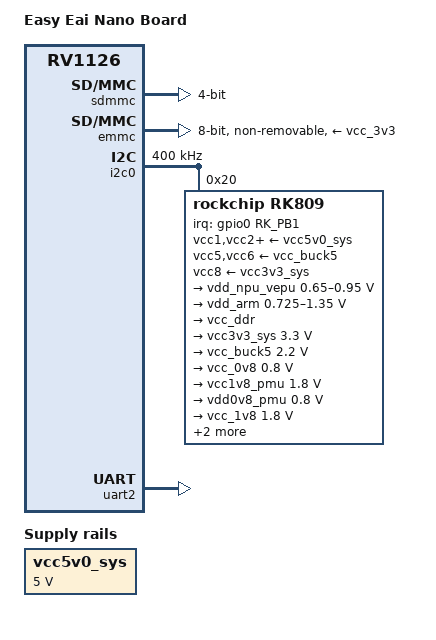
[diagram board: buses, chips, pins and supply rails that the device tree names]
// SPDX-License-Identifier: (GPL-2.0+ OR MIT)
/*
 * Copyright (c) 2020 Rockchip Electronics Co., Ltd.
 */

/dts-v1/;
#include "rv1126.dtsi"

/ {
	model = "Easy Eai Nano Board";
	compatible = "easyeai,nano", "rockchip,rv1126";

	aliases {
		serial2 = &uart2;
	};

	chosen {
		stdout-path = "serial2:1500000n8";
	};

	vcc5v0_sys: vcc5v0-sys-regulator {
		compatible = "regulator-fixed";
		regulator-name = "vcc5v0_sys";
		regulator-always-on;
		regulator-boot-on;
		regulator-min-microvolt = <5000000>;
		regulator-max-microvolt = <5000000>;
	};
};

&sdmmc {
	bus-width = <4>;
	cap-mmc-highspeed;
	cap-sd-highspeed;
	card-detect-delay = <200>;
	pinctrl-names = "default";
	pinctrl-0 = <&sdmmc0_clk &sdmmc0_cmd &sdmmc0_bus4 &sdmmc0_det>;
	rockchip,default-sample-phase = <90>;
	sd-uhs-sdr12;
	sd-uhs-sdr25;
	sd-uhs-sdr104;
	vqmmc-supply = <&vccio_sd>;
	status = "okay";
};

&emmc {
	bus-width = <8>;
	non-removable;
	pinctrl-names = "default";
	pinctrl-0 = <&emmc_bus8 &emmc_cmd &emmc_clk &emmc_rstnout>;
	rockchip,default-sample-phase = <90>;
	vmmc-supply = <&vcc_3v3>;
	status = "okay";
};

&i2c0 {
	clock-frequency = <400000>;
	status = "okay";

	rk809: pmic@20 {
		compatible = "rockchip,rk809";
		reg = <0x20>;
		interrupt-parent = <&gpio0>;
		interrupts = <RK_PB1 IRQ_TYPE_LEVEL_LOW>;
		#clock-cells = <1>;
		clock-output-names = "rk808-clkout1", "rk808-clkout2";
		rockchip,system-power-controller;
		wakeup-source;

		vcc1-supply = <&vcc5v0_sys>;
		vcc2-supply = <&vcc5v0_sys>;
		vcc3-supply = <&vcc5v0_sys>;
		vcc4-supply = <&vcc5v0_sys>;
		vcc5-supply = <&vcc_buck5>;
		vcc6-supply = <&vcc_buck5>;
		vcc7-supply = <&vcc5v0_sys>;
		vcc8-supply = <&vcc3v3_sys>;
		vcc9-supply = <&vcc5v0_sys>;

		regulators {
			vdd_npu_vepu: DCDC_REG1 {
				regulator-name = "vdd_npu_vepu";
				regulator-always-on;
				regulator-boot-on;
				regulator-initial-mode = <0x2>;
				regulator-min-microvolt = <650000>;
				regulator-max-microvolt = <950000>;
				regulator-ramp-delay = <6001>;
				regulator-state-mem {
					regulator-off-in-suspend;
				};
			};

			vdd_arm: DCDC_REG2 {
				regulator-name = "vdd_arm";
				regulator-always-on;
				regulator-boot-on;
				regulator-initial-mode = <0x2>;
				regulator-min-microvolt = <725000>;
				regulator-max-microvolt = <1350000>;
				regulator-ramp-delay = <6001>;
				regulator-state-mem {
					regulator-off-in-suspend;
				};
			};

			vcc_ddr: DCDC_REG3 {
				regulator-name = "vcc_ddr";
				regulator-always-on;
				regulator-boot-on;
				regulator-initial-mode = <0x2>;
				regulator-state-mem {
					regulator-on-in-suspend;
				};
			};

			vcc3v3_sys: DCDC_REG4 {
				regulator-name = "vcc3v3_sys";
				regulator-always-on;
				regulator-boot-on;
				regulator-initial-mode = <0x2>;
				regulator-min-microvolt = <3300000>;
				regulator-max-microvolt = <3300000>;
				regulator-state-mem {
					regulator-on-in-suspend;
					regulator-suspend-microvolt = <3300000>;
				};
			};

			vcc_buck5: DCDC_REG5 {
				regulator-name = "vcc_buck5";
				regulator-always-on;
				regulator-boot-on;
				regulator-min-microvolt = <2200000>;
				regulator-max-microvolt = <2200000>;
				regulator-state-mem {
					regulator-on-in-suspend;
					regulator-suspend-microvolt = <2200000>;
				};
			};

			vcc_0v8: LDO_REG1 {
				regulator-name = "vcc_0v8";
				regulator-always-on;
				regulator-boot-on;
				regulator-min-microvolt = <800000>;
				regulator-max-microvolt = <800000>;
				regulator-state-mem {
					regulator-off-in-suspend;
				};
			};

			vcc1v8_pmu: LDO_REG2 {
				regulator-name = "vcc1v8_pmu";
				regulator-always-on;
				regulator-boot-on;
				regulator-min-microvolt = <1800000>;
				regulator-max-microvolt = <1800000>;
				regulator-state-mem {
					regulator-on-in-suspend;
					regulator-suspend-microvolt = <1800000>;
				};
			};

			vdd0v8_pmu: LDO_REG3 {
				regulator-name = "vcc0v8_pmu";
				regulator-always-on;
				regulator-boot-on;
				regulator-min-microvolt = <800000>;
				regulator-max-microvolt = <800000>;
				regulator-state-mem {
					regulator-on-in-suspend;
					regulator-suspend-microvolt = <800000>;
				};
			};

			vcc_1v8: LDO_REG4 {
				regulator-name = "vcc_1v8";
				regulator-always-on;
				regulator-boot-on;
				regulator-min-microvolt = <1800000>;
				regulator-max-microvolt = <1800000>;
				regulator-state-mem {
					regulator-on-in-suspend;
					regulator-suspend-microvolt = <1800000>;
				};
			};

			vcc_dovdd: LDO_REG5 {
				regulator-name = "vcc_dovdd";
				regulator-boot-on;
				regulator-min-microvolt = <1800000>;
				regulator-max-microvolt = <1800000>;
				regulator-state-mem {
					regulator-off-in-suspend;
				};
			};

			vcc_dvdd: LDO_REG6 {
				regulator-name = "vcc_dvdd";
				regulator-min-microvolt = <1200000>;
				regulator-max-microvolt = <1200000>;
				regulator-state-mem {
					regulator-off-in-suspend;
				};
			};

			vcc_avdd: LDO_REG7 {
				regulator-name = "vcc_avdd";
				regulator-min-microvolt = <2800000>;
				regulator-max-microvolt = <2800000>;
				regulator-state-mem {
					regulator-off-in-suspend;
				};
			};

			vccio_sd: LDO_REG8 {
				regulator-name = "vccio_sd";
				regulator-always-on;
				regulator-boot-on;
				regulator-min-microvolt = <1800000>;
				regulator-max-microvolt = <3300000>;
				regulator-state-mem {
					regulator-off-in-suspend;
				};
			};

			vcc3v3_sd: LDO_REG9 {
				regulator-name = "vcc3v3_sd";
				regulator-always-on;
				regulator-boot-on;
				regulator-min-microvolt = <3300000>;
				regulator-max-microvolt = <3300000>;
				regulator-state-mem {
					regulator-off-in-suspend;
				};
			};

			vcc_5v0: SWITCH_REG1 {
				regulator-name = "vcc_5v0";
			};

			vcc_3v3: SWITCH_REG2 {
				regulator-name = "vcc_3v3";
				regulator-always-on;
				regulator-boot-on;
			};
		};
	};
};

&uart2 {
	status = "okay";
};
